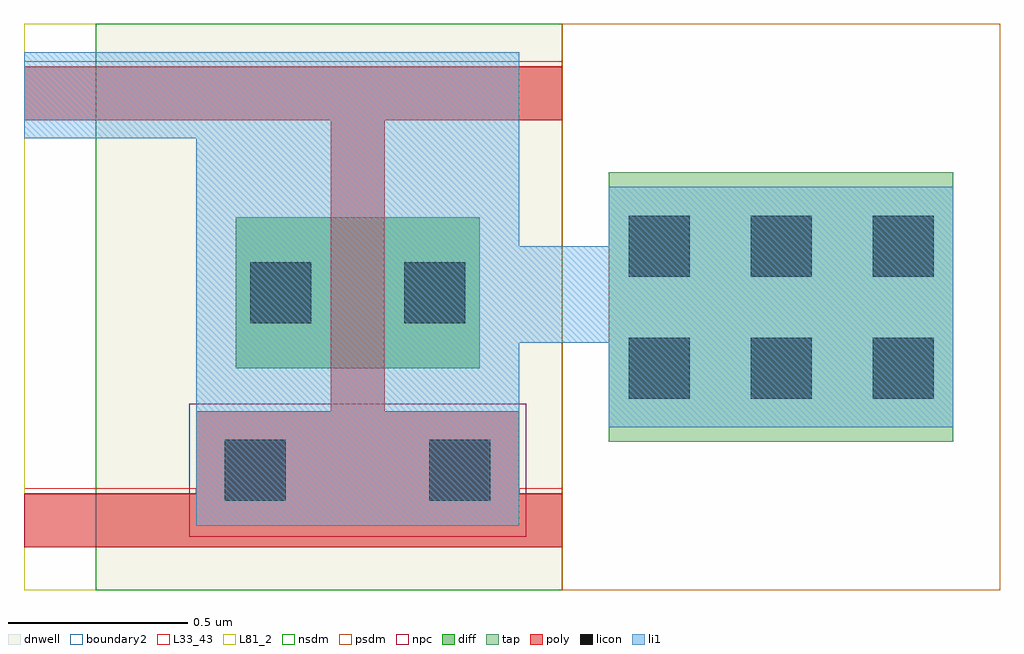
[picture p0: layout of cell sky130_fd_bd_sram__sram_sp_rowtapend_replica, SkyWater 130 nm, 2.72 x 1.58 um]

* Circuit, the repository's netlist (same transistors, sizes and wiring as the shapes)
.subckt sram_sp_rowtapend_replica VSS VNB
X0 VSS VSS VSS VNB sky130_fd_pr__nfet_01v8 w=0.42 l=0.15
.ends

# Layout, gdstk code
import gdstk
lib = gdstk.Library(unit=1e-6, precision=1e-09)
def R(c, l, rs):  # rectangles x0, y0, x1, y1
    for r in rs: c.add(gdstk.rectangle(r[:2], r[2:], *l))
def A(c, l, x, y, w, h, nx, ny, dx, dy):  # array of equal rectangles
    R(c, l, [(x+i*dx, y+j*dy, x+i*dx+w, y+j*dy+h) for i in range(nx) for j in range(ny)])
L33_43 = (33, 43)
dnwell = (64, 18)
diff = (65, 20)
tap = (65, 44)
poly = (66, 20)
licon = (66, 44)
li1 = (67, 20)
L81_2 = (81, 2)
nsdm = (93, 44)
psdm = (94, 20)
npc = (95, 20)
boundary2 = (236, 0)

sky130_fd_bd_sram__sram_ = lib.new_cell('sky130_fd_bd_sram__sram_sp_rowtapend_replica')
R(sky130_fd_bd_sram__sram_, L33_43, [(-0.2,-1.31,0.28,-1.295), (1.18,-1.31,1.3,-1.295), (-0.2,-0.12,1.3,-0.105)])
R(sky130_fd_bd_sram__sram_, dnwell, [(0,-1.58,1.3,0)])
R(sky130_fd_bd_sram__sram_, diff, [(0.39,-0.96,1.07,-0.54)])
R(sky130_fd_bd_sram__sram_, tap, [(1.43,-1.165,2.39,-0.415)])
R(sky130_fd_bd_sram__sram_, poly, [(-0.2,-1.46,1.3,-1.31), (0.28,-1.46,1.18,-1.08), (0.655,-1.46,0.805,-0.12), (-0.2,-0.27,1.3,-0.12)])
A(sky130_fd_bd_sram__sram_, licon, 1.485, -1.045, 0.17, 0.17, 3, 2, 0.34, 0.34)
R(sky130_fd_bd_sram__sram_, licon, [(0.36,-1.33,0.53,-1.16), (0.93,-1.33,1.1,-1.16), (0.43,-0.835,0.6,-0.665), (0.86,-0.835,1.03,-0.665)])
R(sky130_fd_bd_sram__sram_, li1, [(0.28,-1.4,1.18,-0.32), (1.43,-1.125,2.39,-0.455), (1.18,-0.89,1.43,-0.62), (-0.2,-0.32,1.18,-0.08)])
R(sky130_fd_bd_sram__sram_, L81_2, [(-0.2,-1.58,2.52,0)])
R(sky130_fd_bd_sram__sram_, nsdm, [(0,-1.58,1.3,-1.19), (0,-1.19,1.3,-0.39), (0,-0.39,1.3,0)])
R(sky130_fd_bd_sram__sram_, psdm, [(1.3,-1.58,2.52,0)])
R(sky130_fd_bd_sram__sram_, npc, [(0.26,-1.43,1.2,-1.06)])
R(sky130_fd_bd_sram__sram_, boundary2, [(0,-1.58,2.52,0)])

lib.write_gds('sky130_fd_bd_sram__sram_sp_rowtapend_replica.gds')
